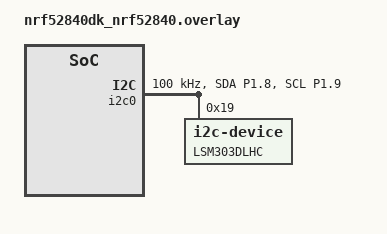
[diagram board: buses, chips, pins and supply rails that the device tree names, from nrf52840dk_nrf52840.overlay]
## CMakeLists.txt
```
# SPDX-License-Identifier: Apache-2.0
cmake_minimum_required(VERSION 3.20.0)

find_package(Zephyr REQUIRED HINTS $ENV{ZEPHYR_BASE})
add_definitions(-DPLATFORM_ZEPHYR)
project(lsm303)

FILE(GLOB app_sources src/*.c)
target_sources(app PRIVATE
  ${app_sources}
  )
add_subdirectory(src/driver/src)
add_subdirectory(src/driver/src/utils)
```

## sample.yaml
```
sample:
  name: I2C Sample
tests:
  sample.basic.blinky:
    tags:
      - LED
      - gpio
    filter: dt_enabled_alias_with_parent_compat("led0", "gpio-leds")
    depends_on: gpio
    harness: led
    integration_platforms:
      - frdm_k64f
```

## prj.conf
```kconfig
CONFIG_I2C=y
CONFIG_GPIO=y

#Add to enable float printk
CONFIG_CBPRINTF_FP_SUPPORT=y
```

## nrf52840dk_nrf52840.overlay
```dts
&pinctrl {
    i2c0_default: i2c0_default {
		group1 {
			psels = <NRF_PSEL(TWIM_SDA, 1, 8)>,
				<NRF_PSEL(TWIM_SCL, 1, 9)>;
		};
	};

	i2c0_sleep: i2c0_sleep {
		group1 {
			psels = <NRF_PSEL(TWIM_SDA, 1, 8)>,
				<NRF_PSEL(TWIM_SCL, 1, 9)>;
			low-power-enable;
		};
	};
};

&i2c0 {										
	compatible = "nordic,nrf-twi";			
	status = "okay";						
	clock-frequency = <100000>;				
	pinctrl-0 = <&i2c0_default>;
	pinctrl-1 = <&i2c0_sleep>;
	pinctrl-names = "default", "sleep";

	lsm303dlhc: spi-i2c-a@19 {		
		compatible = "i2c-device";		
		label = "LSM303DLHC";	
		reg = <0x19>;						
	};
};
```

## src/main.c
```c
/**
 ******************************************************************************
 * @file    main.c
 * @author  - Anthony E.Raterta
 * @version V1.0.0
 * @date    13-September-2024
 * @brief   Application entrypoint for I2C testing
 ******************************************************************************
 * @attention
 *
 * Copyright (c) 2024 mcu-dev
 * All rights reserved.
 *
 * This software is licensed under terms that can be found in the LICENSE file
 * in the root directory of this software component.
 * If no LICENSE file comes with this software, it is provided AS-IS.
 *
 ******************************************************************************
 */
#include <stdio.h>
#include <zephyr/device.h>
#include <zephyr/devicetree.h>
#include <zephyr/kernel.h>

#include "driver/src/lsm303.h"
#include "driver/src/utils/utils.h"

static lsm303_dev dev;
static lsm303_init_param dev_param;
static lsm303_axes_data lsm303_acc_data;
uint8_t addr = 0x00;
bool stat    = true;

int main(void) {
  dev_param.acc_power_mode           = ACC_NORMAL;
  dev_param.acc_odr                  = ACC_ODR_1HZ;
  dev_param.acc_scale                = ACC_SCALE_8G;
  dev_param.acc_resolution           = ACC_RESOLUTION_LOW;
  dev_param.acc_axes_config.acc_axes = ACC_AXES_ENABLE_XYZ;

  if (lsm303_setup(&dev, dev_param) == LSM303_STATUS_SUCCESS) {
    printf("Initialization successful!\r\n");
  } else {
    printf("Initialization Failed, exiting app!\r\n");
    return -1;
  }

  while (stat) {
    if (lsm303_data_ready(&dev) == LSM303_STATUS_SUCCESS) {
      if (dev.acc_axes_config.enable.x) {
        if (dev.acc_axes_config.ready.x) {
          if (lsm303_get_x_raw_data(&dev, &lsm303_acc_data) ==
              LSM303_STATUS_SUCCESS) {
            printf("raw X: %d  ", lsm303_acc_data.x);
            printf("acc X: %.2f\r\n",
                   (double)lsm303_convert_raw_to_g(&dev, lsm303_acc_data.x));
          }
        }
      }

      if (dev.acc_axes_config.enable.y) {
        if (dev.acc_axes_config.ready.y) {
          if (lsm303_get_y_raw_data(&dev, &lsm303_acc_data) ==
              LSM303_STATUS_SUCCESS) {
            printf("Raw Y: %d  ", lsm303_acc_data.y);
            printf("acc Y: %.2f\r\n",
                   (double)lsm303_convert_raw_to_g(&dev, lsm303_acc_data.y));
          }
        }
      }

      if (dev.acc_axes_config.enable.z) {
        if (dev.acc_axes_config.ready.z) {
          if (lsm303_get_z_raw_data(&dev, &lsm303_acc_data) ==
              LSM303_STATUS_SUCCESS) {
            printf("Raw Z: %d  ", lsm303_acc_data.z);
            printf("acc Z: %.2f\r\n",
                   (double)lsm303_convert_raw_to_g(&dev, lsm303_acc_data.z));
          }
        }
      }
    }
    printf(" \r\n");
    delay_ms(500);
  }

  return 0;
}
```
